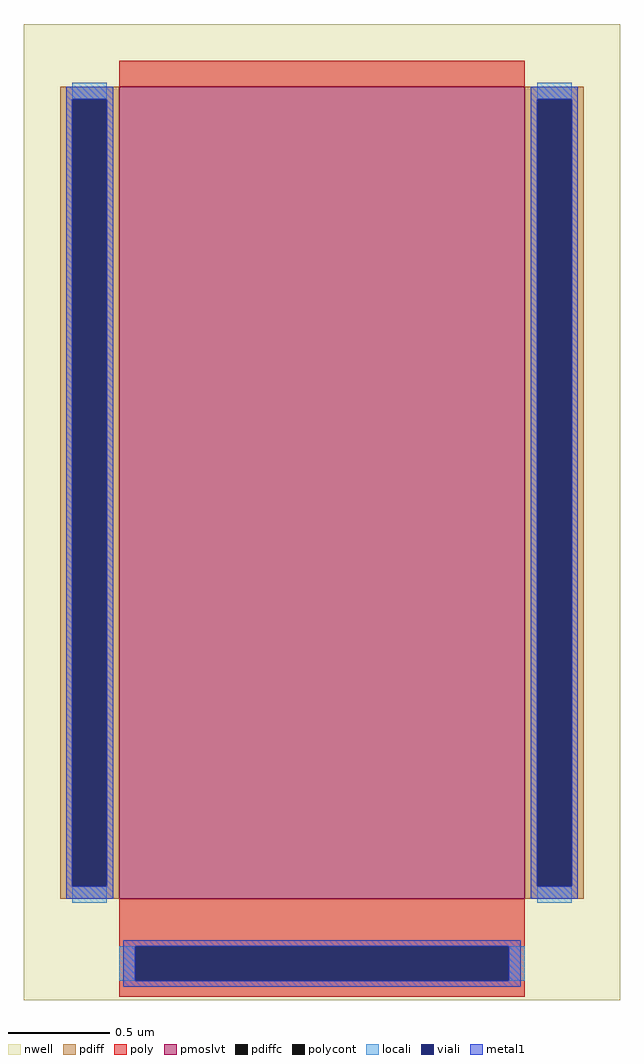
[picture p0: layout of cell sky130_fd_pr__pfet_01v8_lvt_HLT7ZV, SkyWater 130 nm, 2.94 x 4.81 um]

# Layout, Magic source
magic
tech sky130A
magscale 1 2
<< nwell >>
rect -294 -464 294 498
<< pmoslvt >>
rect -200 -364 200 436
<< pdiff >>
rect -258 424 -200 436
rect -258 -352 -246 424
rect -212 -352 -200 424
rect -258 -364 -200 -352
rect 200 424 258 436
rect 200 -352 212 424
rect 246 -352 258 424
rect 200 -364 258 -352
<< pdiffc >>
rect -246 -352 -212 424
rect 212 -352 246 424
<< poly >>
rect -200 436 200 462
rect -200 -411 200 -364
rect -200 -445 -184 -411
rect 184 -445 200 -411
rect -200 -461 200 -445
<< polycont >>
rect -184 -445 184 -411
<< locali >>
rect -246 424 -212 440
rect -246 -368 -212 -352
rect 212 424 246 440
rect 212 -368 246 -352
rect -200 -445 -184 -411
rect 184 -445 200 -411
<< viali >>
rect -246 -352 -212 424
rect 212 -352 246 424
rect -184 -445 184 -411
<< metal1 >>
rect -252 424 -206 436
rect -252 -352 -246 424
rect -212 -352 -206 424
rect -252 -364 -206 -352
rect 206 424 252 436
rect 206 -352 212 424
rect 246 -352 252 424
rect 206 -364 252 -352
rect -196 -411 196 -405
rect -196 -445 -184 -411
rect 184 -445 196 -411
rect -196 -451 196 -445
<< properties >>
string gencell sky130_fd_pr__pfet_01v8_lvt
string library sky130
string parameters w 4.0 l 2.0 m 1 nf 1 diffcov 100 polycov 100 guard 0 glc 1 grc 1 gtc 1 gbc 1 tbcov 100 rlcov 100 topc 0 botc 1 poverlap 0 doverlap 1 lmin 0.35 wmin 0.42 compatible {sky130_fd_pr__pfet_01v8  sky130_fd_pr__pfet_01v8_lvt sky130_fd_pr__pfet_01v8_hvt  sky130_fd_pr__pfet_g5v0d10v5} full_metal 0 viasrc 100 viadrn 100 viagate 100 viagb 0 viagr 0 viagl 0 viagt 0
<< end >>
